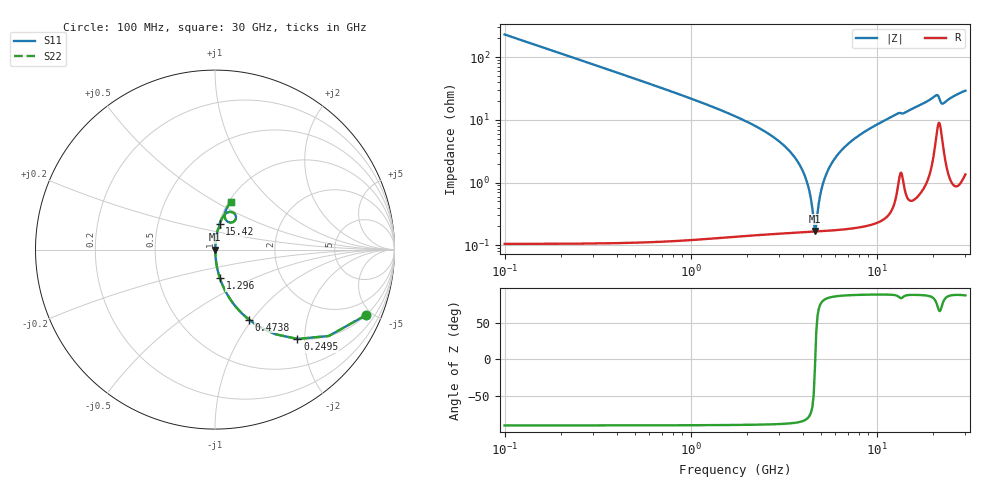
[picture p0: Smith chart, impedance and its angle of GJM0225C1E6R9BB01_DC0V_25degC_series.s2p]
!Murata Part Number: GJM0225C1E6R9BB01
!These Parameters are Measured in Series Mode Connection
!  o--ll--o
!Port1  Port2
!  o------o
!Operation Temp=25[degC], DC Bias Voltage=0[V]
!Freq. Start=100[MHz] Stop=30[GHz], 401[Steps]
!Data Generated on Feb 1, 2023
# Hz S RI R 50
!Freq.(Hz) S11(Real) S11(Imag) S21(Real) S21(Imag) S12(Real) S12(Imag) S22(Real) S22(Imag)
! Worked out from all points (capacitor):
!   401 points, 100 MHz to 30 GHz, reference 50 ohm
!   read as one part in series: C = 6.9 pF near 249.5 MHz
!   lowest |Z| = 169 mohm at 4.66 GHz (marker M1)
!   series resonance near 4.675 GHz, so ESL is about 170 pH
!   S11 on the Smith chart (normalised r, x): 100 MHz: 1.00, -4.61; 249.5 MHz: 1.00, -1.84; 473.8 MHz: 1.00, -0.96; 1.296 GHz: 1.00, -0.33; 15.42 GHz: 1.01, +0.30; 30 GHz: 1.03, +0.58
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1e8  0.8415 -0.3649  0.1585 0.3649  0.1585 0.3649  0.8415 -0.3649
2.495e8  0.4594 -0.4978  0.5406 0.4978  0.5406 0.4978  0.4594 -0.4978
4.7375e8  0.1889 -0.3903  0.8111 0.3903  0.8111 0.3903  0.1889 -0.3903
7.7275e8  0.0786 -0.2671  0.9214 0.2671  0.9214 0.2671  0.0786 -0.2671
1.296e9  0.0274 -0.1594  0.9726 0.1594  0.9726 0.1594  0.0274 -0.1594
3.76275e9  0.00205 -0.0215  0.9979 0.0215  0.9979 0.0215  0.00205 -0.0215
4.21125e9  0.00173 -0.0103  0.9983 0.0103  0.9983 0.0103  0.00173 -0.0103
4.585e9  0.00165 -0.00192  0.9984 0.00192  0.9984 0.00192  0.00165 -0.00192
4.65975e9  0.00165 -0.000328  0.9983 0.000328  0.9983 0.000328  0.00165 -0.000328
4.80925e9  0.00167 0.00278  0.9983 -0.00278  0.9983 -0.00278  0.00167 0.00278
5.10825e9  0.00176 0.00872  0.9982 -0.00872  0.9982 -0.00872  0.00176 0.00872
5.70625e9  0.00211 0.0197  0.9979 -0.0197  0.9979 -0.0197  0.00211 0.0197
6.60325e9  0.00299 0.0347  0.997 -0.0347  0.997 -0.0347  0.00299 0.0347
8.0235e9  0.00506 0.0559  0.9949 -0.0559  0.9949 -0.0559  0.00506 0.0559
1.01165e10  0.00948 0.0844  0.9905 -0.0844  0.9905 -0.0844  0.00948 0.0844
1.505e10  0.0251 0.1393  0.9749 -0.1393  0.9749 -0.1393  0.0251 0.1393
1.542375e10  0.0265 0.1443  0.9735 -0.1443  0.9735 -0.1443  0.0265 0.1443
2.005825e10  0.0679 0.2059  0.9321 -0.2059  0.9321 -0.2059  0.0679 0.2059
2.11795e10  0.1099 0.1988  0.8901 -0.1988  0.8901 -0.1988  0.1099 0.1988
2.245025e10  0.0746 0.1534  0.9254 -0.1534  0.9254 -0.1534  0.0746 0.1534
2.50665e10  0.057 0.2096  0.943 -0.2096  0.943 -0.2096  0.057 0.2096
3e10  0.089 0.2627  0.911 -0.2627  0.911 -0.2627  0.089 0.2627
